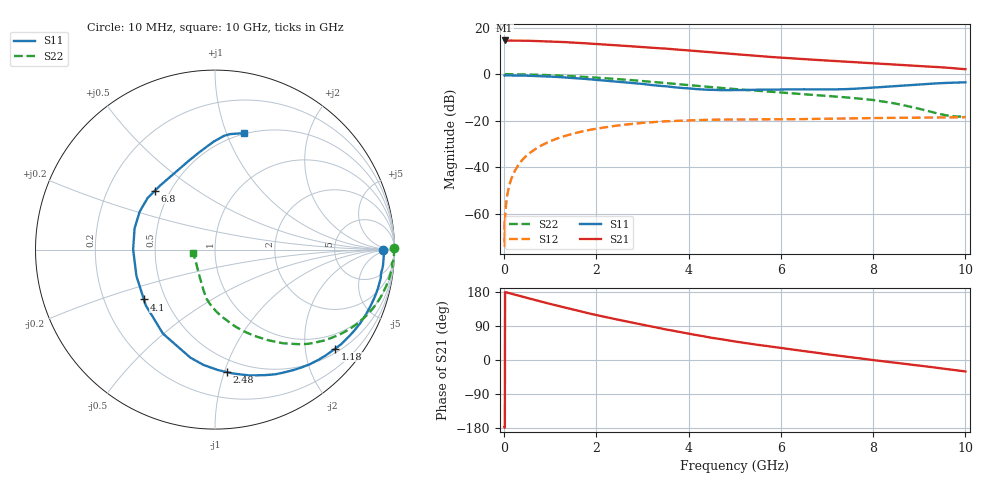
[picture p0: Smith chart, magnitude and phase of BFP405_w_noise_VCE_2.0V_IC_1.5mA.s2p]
! Infineon Technologies  Discrete & RF Semiconductors
! BFP405
! VCE =  2.0 V,  IC =  1.5 mA
! Common Emitter S-Parameters:  Jan 2016
# GHz  S  MA  R  50
!  f  S11  S21  S12  S22
! GHz  MAG  ANG  MAG  ANG  MAG  ANG  MAG  ANG
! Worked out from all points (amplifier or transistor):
!   233 points, 10 MHz to 10 GHz, reference 50 ohm
!   highest |S21| = 14.5 dB at 10 MHz (marker M1)
!   |S21| within 3 dB of that: start of sweep to 3.112 GHz
!   unconditionally stable (mu >= 1): 14.58 MHz to 15.18 MHz; 4.689 GHz to end of sweep
!   at 200 MHz: K = 0.03, MSG = 28.6 dB, |S12| = -42.9 dB
!   at 1.74 GHz: K = 0.27, MSG = 18.9 dB, |S12| = -24.4 dB
!   at 10 GHz: K = 1.82, MAG = 5.1 dB, |S12| = -18.5 dB
!   lowest NFmin = 0.79 dB at 900 MHz
!   S11 on the Smith chart (normalised r, x): 10 MHz: 29, -2; 1.18 GHz: 0.60, -2.67; 2.48 GHz: 0.40, -1.02; 4.1 GHz: 0.38, -0.27; 6.8 GHz: 0.41, +0.35; 10 GHz: 0.49, +1.16
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0.01  0.9336 -0.3  5.311 -177.0  0.0007 -57.8  1 0.6
0.015  0.9394 -0.5  5.279 -178.9  0.0002 28.6  0.9971 0.4
0.02  0.9452 -0.7  5.253 179.1  0.0008 89.4  0.9942 0.1
0.03  0.9439 -1.0  5.248 179.0  0.0012 87.3  0.9953 -0.1
0.07  0.9408 -2.3  5.252 177.8  0.0026 87.4  0.9977 -1.0
0.16  0.9402 -5.2  5.27 174.9  0.0058 87.5  0.9956 -2.9
0.32  0.936 -10.5  5.262 169.8  0.0116 84.5  0.9924 -5.8
0.5  0.9283 -16.6  5.243 163.9  0.0182 81.5  0.9843 -9.1
0.78  0.9085 -26.1  5.152 154.9  0.0283 76.1  0.9679 -14.1
1.18  0.8679 -39.5  4.971 142.4  0.0423 68.4  0.9344 -21.1
1.68  0.8026 -56.5  4.673 127.6  0.0583 58.8  0.88 -29.3
2  0.756 -67.6  4.463 118.6  0.0674 53.0  0.8418 -34.1
2.48  0.6866 -84.3  4.149 106.1  0.0791 44.5  0.7808 -40.8
2.98  0.6195 -102.2  3.85 93.5  0.0893 36.4  0.7157 -47.4
3.4  0.559 -117.6  3.593 83.4  0.0955 29.8  0.6582 -52.6
4.1  0.4839 -145.0  3.185 67.3  0.1025 20.2  0.5702 -61.1
4.5  0.4618 -161.5  2.964 58.6  0.105 15.3  0.5261 -65.7
5.1  0.4552 176.9  2.641 47.1  0.1063 9.2  0.4705 -72.0
6  0.4699 153.4  2.268 31.7  0.107 2.6  0.4044 -79.9
6.8  0.4688 135.5  2.019 18.7  0.1091 -1.8  0.3536 -87.4
8.4  0.5487 99.3  1.614 -6.0  0.1148 -10.6  0.2413 -104.8
10  0.6689 76.0  1.279 -30.2  0.1185 -17.8  0.1227 -170.8
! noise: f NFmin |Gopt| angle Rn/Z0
0.9  0.79  0.64  15  0.47
1.8  1.18  0.51  29  0.42
2.4  1.41  0.42  40  0.39
3  1.48  0.42  55  0.36
4  1.72  0.3  82  0.27
5  2.06  0.26  118  0.21
